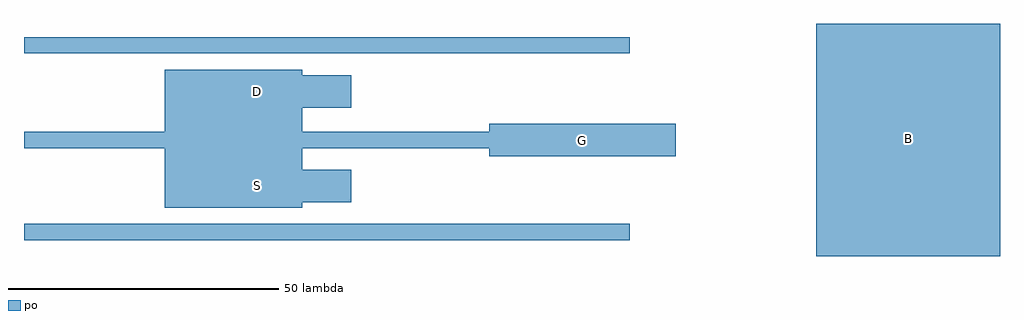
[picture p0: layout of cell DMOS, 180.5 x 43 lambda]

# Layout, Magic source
magic
tech tech
magscale 1 2
<< po >>
rect 310 -9 378 9
rect 69 9 120 26
rect 99 13 107 21
rect 79 13 87 21
rect 310 9 378 26
rect 323 13 331 21
rect 357 13 365 21
rect 69 26 120 43
rect 310 26 378 43
rect 69 43 120 60
rect 99 48 107 56
rect 79 48 87 56
rect 310 43 378 60
rect 323 48 331 56
rect 357 48 365 56
rect 310 60 378 77
rect 17 -3 241 3
rect 17 31 189 37
rect 189 28 258 40
rect 189 28 241 40
rect 194 30 202 38
rect 228 30 236 38
rect 17 66 241 72
rect 310 -9 378 9
rect 69 11 138 23
rect 69 11 138 23
rect 310 9 378 26
rect 189 28 258 40
rect 310 26 378 43
rect 310 26 378 43
rect 69 46 138 58
rect 69 46 138 58
rect 310 43 378 60
rect 310 60 378 77
<< labels >>
flabel po s 189 28 258 40 0 FreeSans 400 0 0 0 G
port 2 nsew signal bidirectional
flabel po s 69 11 138 23 0 FreeSans 400 0 0 0 S
port 3 nsew signal bidirectional
flabel po s 310 26 378 43 0 FreeSans 400 0 0 0 B
port 4 nsew signal bidirectional
flabel po s 69 46 138 58 0 FreeSans 400 0 0 0 D
port 1 nsew signal bidirectional
<< properties >>
string FIXED_BBOX 0 0 344 69
<< end >>
